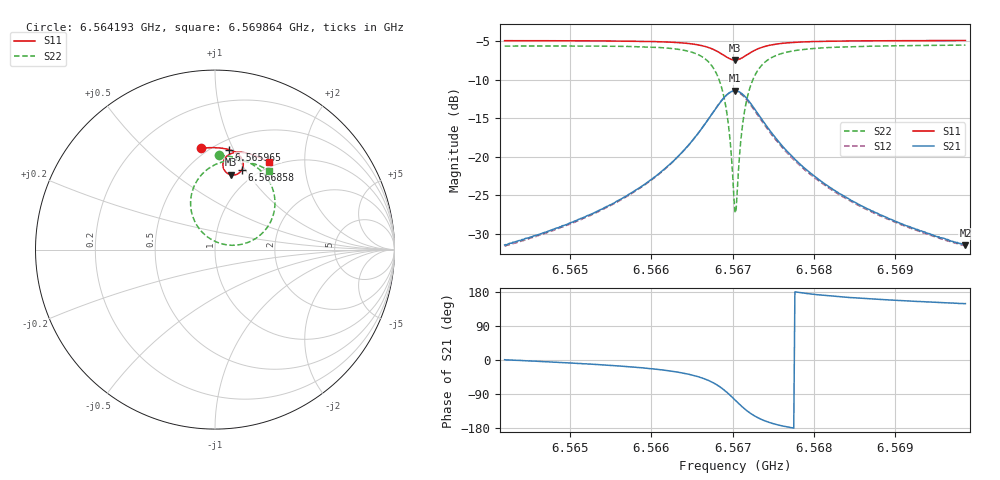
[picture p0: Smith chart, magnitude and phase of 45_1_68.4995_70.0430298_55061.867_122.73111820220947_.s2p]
#  HZ  S  RI  R  50.00
! Rohde & Schwarz Vector Network Analyzer
! Rohde-Schwarz,ZNB20-2Port,1311601062101988,3.16
! Created: UTC 3/20/2024, 5:05:44 PM
! freq[Hz]  re:S11  im:S11  re:S21  im:S21  re:S12  im:S12  re:S22  im:S22
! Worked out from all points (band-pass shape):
!   401 points, 6.564193 GHz to 6.569864 GHz, reference 50 ohm
!   highest |S21| = -11.41 dB at 6.567028 GHz (marker M1); lowest = -31.5 dB at 6.569864 GHz (marker M2)
!   |S21| within 3 dB of the highest: 6.566746 GHz to 6.567313 GHz (566.9 kHz wide, 0.00863 % of centre)
!   lowest |S11| = -7.4 dB at 6.567028 GHz (marker M3), VSWR 2.48, Z = 40.8 + j41.5 ohm
!   |S11| at or under -10 dB: nowhere
!   |S22| runs from -27.3 to -5.5 dB; largest |S21 - S12| = 0.012
!   S11 on the Smith chart (normalised r, x): 6.564193 GHz: 0.46, +0.76; 6.565965 GHz: 0.59, +0.96; 6.566858 GHz: 0.85, +0.97; 6.569864 GHz: 0.93, +1.34
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6.564193e9  -0.0753 0.5639  0.0269 0.000339  0.0264 -0.000191  0.0237 0.5246
6.5651429e9  0.00168 0.568  0.0395 -0.0066  0.0387 -0.00725  0.1116 0.5132
6.5659651e9  0.0766 0.5573  0.0642 -0.0263  0.0631 -0.027  0.2128 0.4718
6.5660927e9  0.0897 0.553  0.0705 -0.0332  0.0695 -0.0341  0.2334 0.4578
6.5664046e9  0.1248 0.5345  0.091 -0.0642  0.0895 -0.0654  0.2918 0.3968
6.5666315e9  0.1504 0.5045  0.1045 -0.1161  0.1021 -0.1183  0.3315 0.2966
6.5667591e9  0.1577 0.4746  0.0977 -0.1687  0.0936 -0.1715  0.3255 0.1965
6.5668583e9  0.1497 0.4442  0.0667 -0.2206  0.0595 -0.2233  0.271 0.0991
6.5669009e9  0.1398 0.4315  0.0416 -0.2415  0.0329 -0.2433  0.2254 0.061
6.5669434e9  0.1258 0.4215  0.00868 -0.2572  -0.00143 -0.2574  0.1654 0.0337
6.5669717e9  0.1143 0.4171  -0.0169 -0.263  -0.0276 -0.2614  0.1193 0.0248
6.5670143e9  0.0953 0.4157  -0.0577 -0.2622  -0.0687 -0.2579  0.0468 0.0299
6.5670284e9  0.0888 0.4166  -0.0714 -0.2593  -0.082 -0.2539  0.0232 0.0366
6.5670568e9  0.0766 0.4208  -0.0972 -0.2495  -0.1071 -0.2422  -0.0211 0.057
6.5671135e9  0.057 0.436  -0.1394 -0.217  -0.1463 -0.2071  -0.09 0.1191
6.567156e9  0.0481 0.4512  -0.1596 -0.1866  -0.164 -0.176  -0.1205 0.175
6.5672128e9  0.0441 0.4717  -0.1726 -0.1458  -0.1739 -0.1356  -0.1357 0.2474
6.5672836e9  0.0479 0.4941  -0.1724 -0.102  -0.1713 -0.0936  -0.127 0.3231
6.5675388e9  0.0871 0.5339  -0.129 -0.022  -0.1261 -0.0185  -0.0296 0.4562
6.5679783e9  0.1456 0.5422  -0.0767 0.00827  -0.0748 0.00932  0.0924 0.4969
6.5689282e9  0.232 0.5199  -0.0369 0.0145  -0.0363 0.0149  0.2219 0.4773
6.5698639e9  0.3 0.4856  -0.0229 0.0138  -0.0224 0.014  0.301 0.4392
